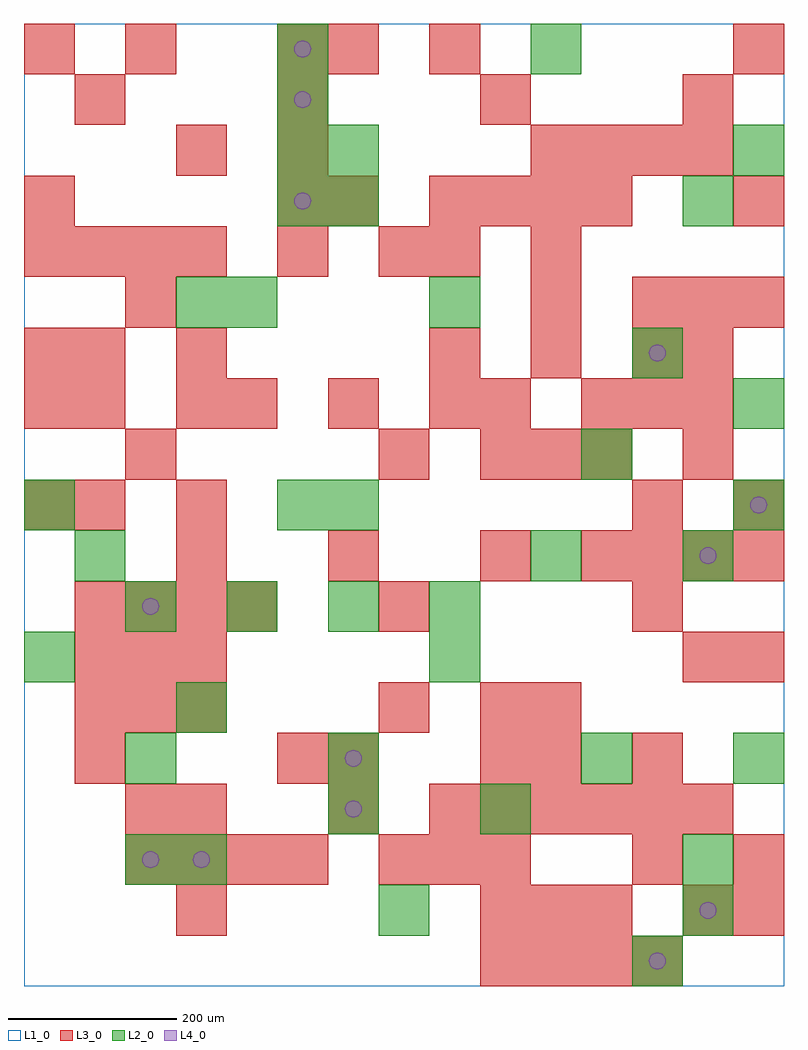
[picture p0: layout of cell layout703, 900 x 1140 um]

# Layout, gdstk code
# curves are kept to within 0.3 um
import gdstk
lib = gdstk.Library(unit=1e-6, precision=1e-09)
def R(c, l, rs):  # rectangles x0, y0, x1, y1
    for r in rs: c.add(gdstk.rectangle(r[:2], r[2:], *l))
def A(c, l, x, y, w, h, nx, ny, dx, dy):  # array of equal rectangles
    R(c, l, [(x+i*dx, y+j*dy, x+i*dx+w, y+j*dy+h) for i in range(nx) for j in range(ny)])
def P(c, l, *ps):  # polygons
    for p in ps: c.add(gdstk.Polygon(p, *l))
L1_0 = (1, 0)
L2_0 = (2, 0)
L3_0 = (3, 0)
L4_0 = (4, 0)

layout703 = lib.new_cell('layout703')
R(layout703, L1_0, [(0,0,900,1140)])
A(layout703, L2_0, 120, 420, 60, 60, 4, 1, 120, 0)
A(layout703, L2_0, 300, 900, 60, 60, 1, 4, 0, 60)
R(layout703, L2_0, [(720,0,780,60), (420,60,480,120), (780,60,840,120), (120,120,180,180), (180,120,240,180), (780,120,840,180), (360,180,420,240), (540,180,600,240), (120,240,180,300), (360,240,420,300), (660,240,720,300), (840,240,900,300), (180,300,240,360), (0,360,60,420), (480,360,540,420), (60,480,120,540), (600,480,660,540), (780,480,840,540), (0,540,60,600), (300,540,360,600), (360,540,420,600), (840,540,900,600), (660,600,720,660), (840,660,900,720), (720,720,780,780), (180,780,240,840), (240,780,300,840), (480,780,540,840), (360,900,420,960), (780,900,840,960), (360,960,420,1020), (840,960,900,1020), (600,1080,660,1140)])
A(layout703, L3_0, 540, 0, 60, 60, 4, 1, 60, 0)
A(layout703, L3_0, 540, 60, 60, 60, 3, 2, 60, 540)
A(layout703, L3_0, 120, 120, 60, 60, 4, 1, 60, 0)
A(layout703, L3_0, 420, 120, 60, 60, 3, 1, 60, 0)
A(layout703, L3_0, 480, 180, 60, 60, 6, 1, 60, 0)
A(layout703, L3_0, 60, 300, 60, 60, 3, 2, 60, 60)
A(layout703, L3_0, 60, 420, 60, 60, 4, 1, 60, 0)
A(layout703, L3_0, 180, 480, 60, 60, 3, 1, 180, 0)
A(layout703, L3_0, 660, 480, 60, 60, 4, 1, 60, 0)
A(layout703, L3_0, 240, 660, 60, 60, 3, 1, 120, 0)
A(layout703, L3_0, 660, 660, 60, 60, 3, 1, 60, 0)
A(layout703, L3_0, 0, 720, 60, 60, 1, 3, 0, 180)
A(layout703, L3_0, 480, 720, 60, 60, 3, 1, 120, 0)
A(layout703, L3_0, 720, 780, 60, 60, 3, 1, 60, 0)
A(layout703, L3_0, 0, 840, 60, 60, 4, 1, 60, 0)
A(layout703, L3_0, 300, 840, 60, 60, 1, 3, 0, 60)
A(layout703, L3_0, 480, 900, 60, 60, 4, 1, 60, 0)
A(layout703, L3_0, 600, 960, 60, 60, 4, 1, 60, 0)
A(layout703, L3_0, 60, 1020, 60, 60, 4, 1, 240, 0)
R(layout703, L3_0, [(180,60,240,120), (780,60,840,120), (840,60,900,120), (720,120,780,180), (840,120,900,180), (120,180,180,240), (180,180,240,240), (360,180,420,240), (60,240,120,300), (300,240,360,300), (360,240,420,300), (540,240,600,300), (600,240,660,300), (720,240,780,300), (420,300,480,360), (540,300,600,360), (600,300,660,360), (780,360,840,420), (840,360,900,420), (420,420,480,480), (720,420,780,480), (0,540,60,600), (60,540,120,600), (180,540,240,600), (720,540,780,600), (840,540,900,600), (120,600,180,660), (420,600,480,660), (780,600,840,660), (0,660,60,720), (60,660,120,720), (180,660,240,720), (540,660,600,720), (60,720,120,780), (180,720,240,780), (780,720,840,780), (120,780,180,840), (600,780,660,840), (420,840,480,900), (480,840,540,900), (600,840,660,900), (360,900,420,960), (840,900,900,960), (180,960,240,1020), (120,1080,180,1140), (300,1080,360,1140), (360,1080,420,1140), (480,1080,540,1140), (840,1080,900,1140)])
P(layout703, L4_0, [(160,150),(159.239,153.827),(157.071,157.071),(153.827,159.239),(150,160),(146.173,159.239),(142.929,157.071),(140.761,153.827),(140,150),(140.761,146.173),(142.929,142.929),(146.173,140.761),(150,140),(153.827,140.761),(157.071,142.929),(159.239,146.173)],
  [(160,450),(159.239,453.827),(157.071,457.071),(153.827,459.239),(150,460),(146.173,459.239),(142.929,457.071),(140.761,453.827),(140,450),(140.761,446.173),(142.929,442.929),(146.173,440.761),(150,440),(153.827,440.761),(157.071,442.929),(159.239,446.173)],
  [(220,150),(219.239,153.827),(217.071,157.071),(213.827,159.239),(210,160),(206.173,159.239),(202.929,157.071),(200.761,153.827),(200,150),(200.761,146.173),(202.929,142.929),(206.173,140.761),(210,140),(213.827,140.761),(217.071,142.929),(219.239,146.173)],
  [(340,930),(339.239,933.827),(337.071,937.071),(333.827,939.239),(330,940),(326.173,939.239),(322.929,937.071),(320.761,933.827),(320,930),(320.761,926.173),(322.929,922.929),(326.173,920.761),(330,920),(333.827,920.761),(337.071,922.929),(339.239,926.173)],
  [(340,1050),(339.239,1053.827),(337.071,1057.071),(333.827,1059.239),(330,1060),(326.173,1059.239),(322.929,1057.071),(320.761,1053.827),(320,1050),(320.761,1046.173),(322.929,1042.929),(326.173,1040.761),(330,1040),(333.827,1040.761),(337.071,1042.929),(339.239,1046.173)],
  [(340,1110),(339.239,1113.827),(337.071,1117.071),(333.827,1119.239),(330,1120),(326.173,1119.239),(322.929,1117.071),(320.761,1113.827),(320,1110),(320.761,1106.173),(322.929,1102.929),(326.173,1100.761),(330,1100),(333.827,1100.761),(337.071,1102.929),(339.239,1106.173)],
  [(400,210),(399.239,213.827),(397.071,217.071),(393.827,219.239),(390,220),(386.173,219.239),(382.929,217.071),(380.761,213.827),(380,210),(380.761,206.173),(382.929,202.929),(386.173,200.761),(390,200),(393.827,200.761),(397.071,202.929),(399.239,206.173)],
  [(400,270),(399.239,273.827),(397.071,277.071),(393.827,279.239),(390,280),(386.173,279.239),(382.929,277.071),(380.761,273.827),(380,270),(380.761,266.173),(382.929,262.929),(386.173,260.761),(390,260),(393.827,260.761),(397.071,262.929),(399.239,266.173)],
  [(760,30),(759.239,33.827),(757.071,37.071),(753.827,39.239),(750,40),(746.173,39.239),(742.929,37.071),(740.761,33.827),(740,30),(740.761,26.173),(742.929,22.929),(746.173,20.761),(750,20),(753.827,20.761),(757.071,22.929),(759.239,26.173)],
  [(760,750),(759.239,753.827),(757.071,757.071),(753.827,759.239),(750,760),(746.173,759.239),(742.929,757.071),(740.761,753.827),(740,750),(740.761,746.173),(742.929,742.929),(746.173,740.761),(750,740),(753.827,740.761),(757.071,742.929),(759.239,746.173)],
  [(820,90),(819.239,93.827),(817.071,97.071),(813.827,99.239),(810,100),(806.173,99.239),(802.929,97.071),(800.761,93.827),(800,90),(800.761,86.173),(802.929,82.929),(806.173,80.761),(810,80),(813.827,80.761),(817.071,82.929),(819.239,86.173)],
  [(820,510),(819.239,513.827),(817.071,517.071),(813.827,519.239),(810,520),(806.173,519.239),(802.929,517.071),(800.761,513.827),(800,510),(800.761,506.173),(802.929,502.929),(806.173,500.761),(810,500),(813.827,500.761),(817.071,502.929),(819.239,506.173)],
  [(880,570),(879.239,573.827),(877.071,577.071),(873.827,579.239),(870,580),(866.173,579.239),(862.929,577.071),(860.761,573.827),(860,570),(860.761,566.173),(862.929,562.929),(866.173,560.761),(870,560),(873.827,560.761),(877.071,562.929),(879.239,566.173)])

lib.write_gds('layout703.gds')
